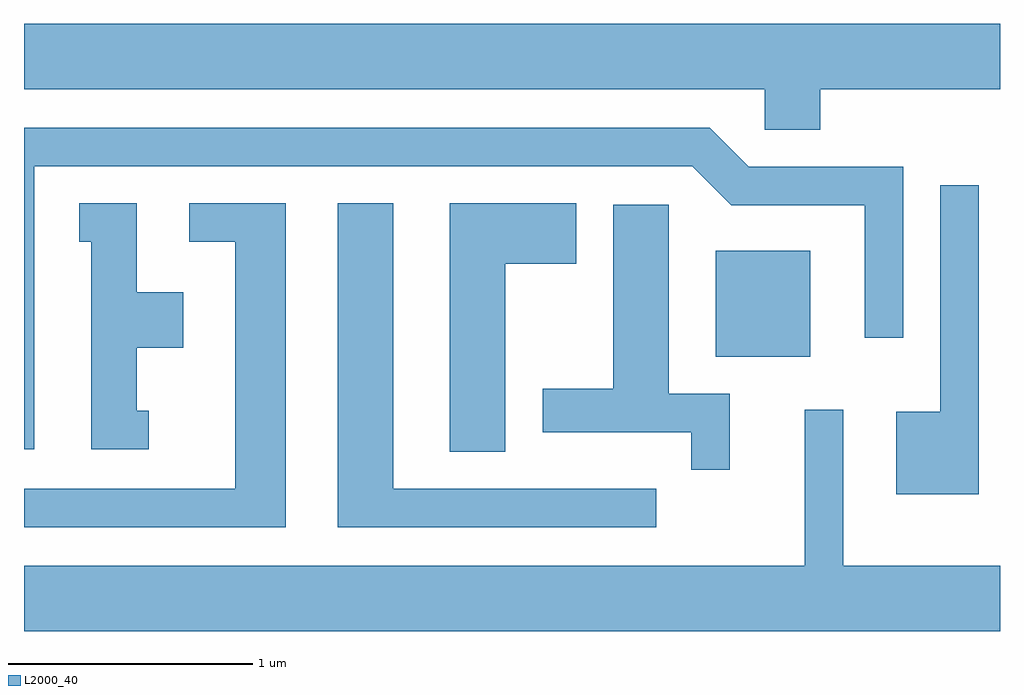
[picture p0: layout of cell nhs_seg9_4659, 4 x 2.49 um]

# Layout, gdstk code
import gdstk
lib = gdstk.Library(unit=1e-6, precision=1e-09)
def R(c, l, rs):  # rectangles x0, y0, x1, y1
    for r in rs: c.add(gdstk.rectangle(r[:2], r[2:], *l))
def P(c, l, *ps):  # polygons
    for p in ps: c.add(gdstk.Polygon(p, *l))
L2000_40 = (2000, 40)

nhs_seg9_4659 = lib.new_cell('nhs_seg9_4659')
R(nhs_seg9_4659, L2000_40, [(324.446,2068.421,324.834,2068.854)])
P(nhs_seg9_4659, L2000_40, [(324.874,2069.516),(325.611,2069.516),(325.611,2069.784),(321.611,2069.784),(321.611,2069.516),(324.646,2069.516),(324.646,2069.351),(324.874,2069.351)],
  [(321.654,2069.201),(324.349,2069.201),(324.509,2069.041),(325.056,2069.041),(325.056,2068.498),(325.214,2068.498),(325.214,2069.199),(324.582,2069.199),(324.422,2069.359),(321.611,2069.359),(321.611,2068.041),(321.654,2068.041)],
  [(325.524,2069.123),(325.366,2069.123),(325.366,2068.194),(325.186,2068.194),(325.186,2067.856),(325.524,2067.856)],
  [(322.684,2069.049),(322.288,2069.049),(322.288,2068.891),(322.476,2068.891),(322.476,2067.879),(321.611,2067.879),(321.611,2067.721),(322.684,2067.721)],
  [(323.584,2068.801),(323.874,2068.801),(323.874,2069.049),(323.356,2069.049),(323.356,2068.031),(323.584,2068.031)],
  [(324.203,2067.879),(323.124,2067.879),(323.124,2069.049),(322.896,2069.049),(322.896,2067.721),(324.203,2067.721)],
  [(322.123,2068.199),(322.074,2068.199),(322.074,2068.456),(322.264,2068.456),(322.264,2068.684),(322.074,2068.684),(322.074,2069.049),(321.838,2069.049),(321.838,2068.891),(321.886,2068.891),(321.886,2068.041),(322.123,2068.041)],
  [(324.504,2068.269),(324.254,2068.269),(324.254,2069.044),(324.026,2069.044),(324.026,2068.289),(323.736,2068.289),(323.736,2068.111),(324.346,2068.111),(324.346,2067.958),(324.504,2067.958)],
  [(325.611,2067.564),(324.969,2067.564),(324.969,2068.202),(324.811,2068.202),(324.811,2067.564),(321.611,2067.564),(321.611,2067.296),(325.611,2067.296)])

lib.write_gds('nhs_seg9_4659.gds')
